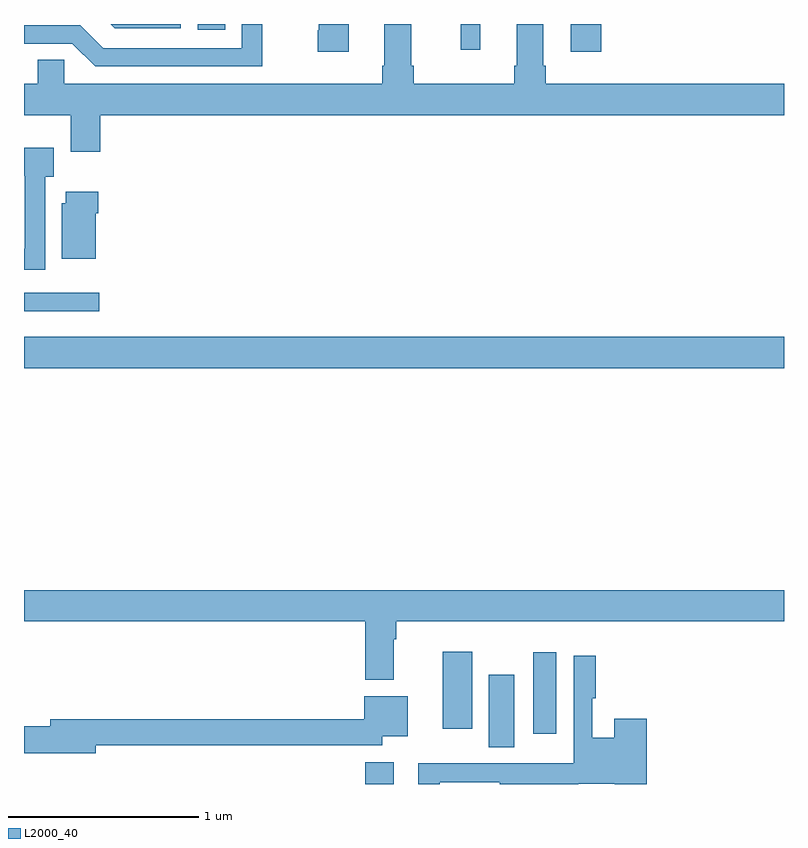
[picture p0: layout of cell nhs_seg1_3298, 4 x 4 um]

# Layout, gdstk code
import gdstk
lib = gdstk.Library(unit=1e-6, precision=1e-09)
def R(c, l, rs):  # rectangles x0, y0, x1, y1
    for r in rs: c.add(gdstk.rectangle(r[:2], r[2:], *l))
def P(c, l, *ps):  # polygons
    for p in ps: c.add(gdstk.Polygon(p, *l))
L2000_40 = (2000, 40)

nhs_seg1_3298 = lib.new_cell('nhs_seg1_3298')
R(nhs_seg1_3298, L2000_40, [(290.795,560.199,290.947,560.314), (291.446,560.392,291.58,560.773), (291.68,560.463,291.802,560.893), (291.203,560.49,291.358,560.896), (289,562.388,293,562.552), (289,562.688,289.396,562.785), (291.878,564.054,292.037,564.199), (291.298,564.063,291.401,564.199), (289.914,564.168,290.06,564.199)])
P(nhs_seg1_3298, L2000_40, [(289.4,563.72),(293,563.72),(293,563.884),(291.746,563.884),(291.746,563.98),(291.733,563.98),(291.733,564.199),(291.593,564.199),(291.593,563.98),(291.581,563.98),(291.581,563.884),(291.05,563.884),(291.05,563.98),(291.037,563.98),(291.037,564.199),(290.897,564.199),(290.897,563.98),(290.885,563.98),(290.885,563.884),(289.212,563.884),(289.212,564.011),(289.073,564.011),(289.073,563.884),(289,563.884),(289,563.72),(289.247,563.72),(289.247,563.526),(289.4,563.526)],
  [(290.71,564.199),(290.552,564.199),(290.552,564.166),(290.545,564.166),(290.545,564.054),(290.71,564.054)],
  [(290.254,564.199),(290.145,564.199),(290.145,564.072),(289.416,564.072),(289.296,564.192),(289,564.192),(289,564.096),(289.254,564.096),(289.374,563.976),(290.254,563.976)],
  [(289.824,564.199),(289.456,564.199),(289.478,564.177),(289.824,564.177)],
  [(289.111,563.394),(289.156,563.394),(289.156,563.548),(289,563.548),(289,563.401),(289.004,563.401),(289.004,563.017),(289,563.017),(289,562.905),(289.111,562.905)],
  [(289.378,563.204),(289.391,563.204),(289.391,563.317),(289.22,563.317),(289.22,563.256),(289.199,563.256),(289.199,562.964),(289.378,562.964)],
  [(290.947,560.96),(290.96,560.96),(290.96,561.056),(293,561.056),(293,561.22),(289,561.22),(289,561.056),(290.795,561.056),(290.795,560.747),(290.947,560.747)],
  [(291.187,560.209),(291.503,560.209),(291.503,560.199),(291.918,560.199),(291.918,560.201),(292.11,560.201),(292.11,560.199),(292.277,560.199),(292.277,560.542),(292.106,560.542),(292.106,560.443),(291.99,560.443),(291.99,560.651),(292.01,560.651),(292.01,560.875),(291.894,560.875),(291.894,560.308),(291.684,560.308),(291.684,560.307),(291.35,560.307),(291.35,560.309),(291.075,560.309),(291.075,560.199),(291.187,560.199)],
  [(289.378,560.404),(290.886,560.404),(290.886,560.45),(291.019,560.45),(291.019,560.662),(290.792,560.662),(290.792,560.54),(289.139,560.54),(289.139,560.504),(289,560.504),(289,560.362),(289.378,560.362)])

lib.write_gds('nhs_seg1_3298.gds')
